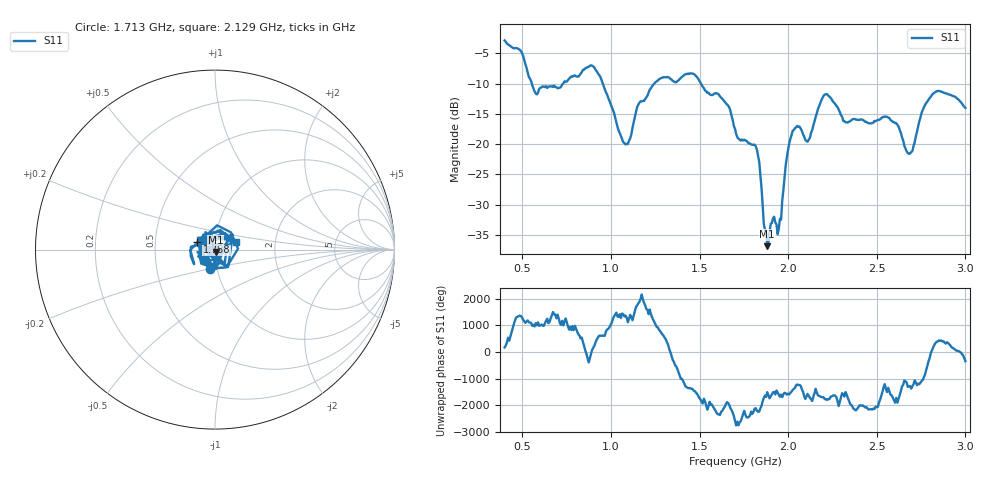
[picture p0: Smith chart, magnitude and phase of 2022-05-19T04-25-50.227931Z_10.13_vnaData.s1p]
!Created with skrf (http://scikit-rf.org).
# Hz S RI R 50.0
!freq ReS11 ImS11
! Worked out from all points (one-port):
!   401 points, 400 MHz to 3 GHz, reference 50 ohm
!   lowest |S11| = -36.9 dB at 1.882 GHz (marker M1), VSWR 1.03, Z = 50.4 - j1.38 ohm
!   |S11| at or under -10 dB: 553.5 MHz to 730.1 MHz (176.6 MHz wide, 27.5 % of centre); 954 MHz to 1.244 GHz (290.4 MHz wide, 26.4 % of centre); 1.508 GHz to end of sweep
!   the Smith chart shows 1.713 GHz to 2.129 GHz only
!   S11 on the Smith chart (normalised r, x): 1.713 GHz: 0.92, -0.21; 1.758 GHz: 0.82, +0.07; 2.129 GHz: 1.26, +0.10
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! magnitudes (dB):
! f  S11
! 400 MHz  -2.9
! 491 MHz  -4.6
! 575.5 MHz  -11.6
! 725 MHz  -10.1
! 900.5 MHz  -7.2
! 1.05 GHz  -18.2
! 1.095 GHz  -20.0
! 1.154 GHz  -13.5
! 1.258 GHz  -9.6
! 1.375 GHz  -9.6
! 1.46 GHz  -8.3
! 1.609 GHz  -11.8
! 1.7 GHz  -17.5
! 1.713 GHz  -18.8
! 1.758 GHz  -19.4
! 1.823 GHz  -20.9
! 1.869 GHz  -34.1
! 1.882 GHz  -36.9
! 1.954 GHz  -32.3
! 1.992 GHz  -22.2
! 2.025 GHz  -17.8
! 2.129 GHz  -18.1
! 2.213 GHz  -11.7
! 2.35 GHz  -16.2
! 2.558 GHz  -15.5
! 2.675 GHz  -21.4
! 2.825 GHz  -11.5
! 3 GHz  -14.0
